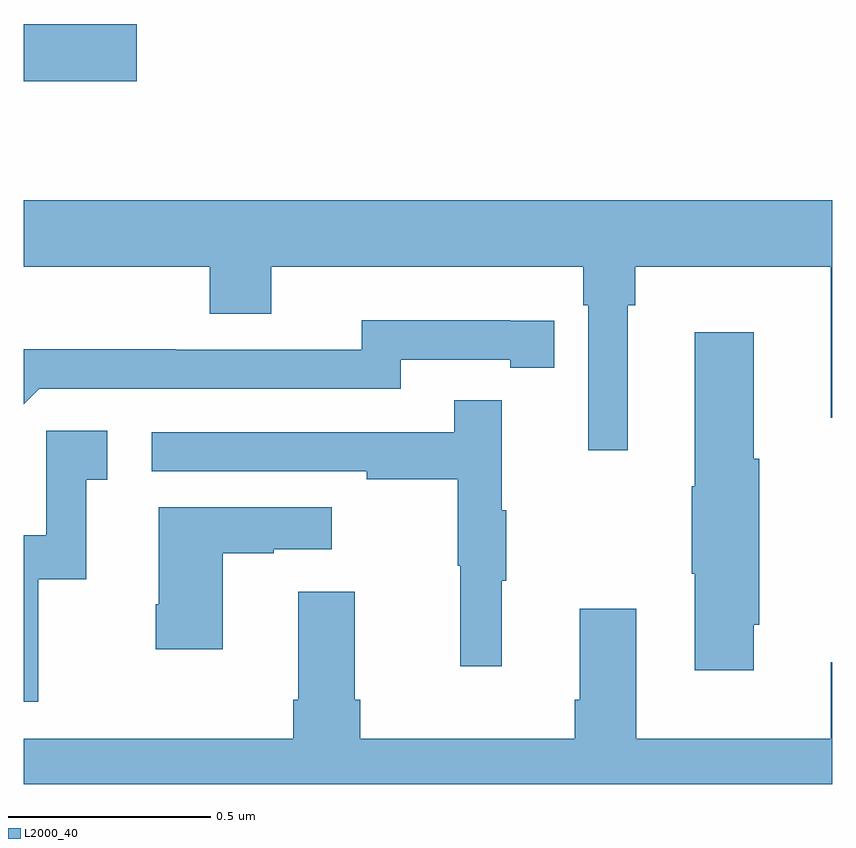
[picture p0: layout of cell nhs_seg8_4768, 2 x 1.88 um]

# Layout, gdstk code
import gdstk
lib = gdstk.Library(unit=1e-6, precision=1e-09)
def R(c, l, rs):  # rectangles x0, y0, x1, y1
    for r in rs: c.add(gdstk.rectangle(r[:2], r[2:], *l))
def P(c, l, *ps):  # polygons
    for p in ps: c.add(gdstk.Polygon(p, *l))
L2000_40 = (2000, 40)

nhs_seg8_4768 = lib.new_cell('nhs_seg8_4768')
R(nhs_seg8_4768, L2000_40, [(175,1103.638,175.279,1103.78)])
P(nhs_seg8_4768, L2000_40, [(176.494,1103.084),(176.513,1103.084),(176.513,1103.18),(176.996,1103.18),(176.996,1102.806),(177,1102.806),(177,1103.344),(175,1103.344),(175,1103.18),(175.46,1103.18),(175.46,1103.063),(175.612,1103.063),(175.612,1103.18),(176.384,1103.18),(176.384,1103.084),(176.397,1103.084),(176.397,1102.725),(176.494,1102.725)],
  [(175.038,1102.878),(175.932,1102.878),(175.932,1102.95),(176.204,1102.95),(176.204,1102.93),(176.312,1102.93),(176.312,1103.046),(176.204,1103.046),(176.204,1103.047),(175.836,1103.047),(175.836,1102.974),(175.376,1102.974),(175.376,1102.976),(175,1102.976),(175,1102.84)],
  [(176.806,1102.294),(176.819,1102.294),(176.819,1102.704),(176.806,1102.704),(176.806,1103.017),(176.66,1103.017),(176.66,1102.637),(176.653,1102.637),(176.653,1102.42),(176.66,1102.42),(176.66,1102.182),(176.806,1102.182)],
  [(176.183,1102.403),(176.194,1102.403),(176.194,1102.577),(176.183,1102.577),(176.183,1102.849),(176.065,1102.849),(176.065,1102.77),(175.317,1102.77),(175.317,1102.674),(175.849,1102.674),(175.849,1102.654),(176.073,1102.654),(176.073,1102.44),(176.08,1102.44),(176.08,1102.191),(176.183,1102.191)],
  [(175.036,1102.407),(175.154,1102.407),(175.154,1102.653),(175.207,1102.653),(175.207,1102.774),(175.056,1102.774),(175.056,1102.515),(175,1102.515),(175,1102.104),(175.036,1102.104)],
  [(175.492,1102.471),(175.619,1102.471),(175.619,1102.481),(175.762,1102.481),(175.762,1102.585),(175.334,1102.585),(175.334,1102.345),(175.327,1102.345),(175.327,1102.233),(175.492,1102.233)],
  [(175.679,1102.375),(175.679,1102.108),(175.667,1102.108),(175.667,1102.012),(175,1102.012),(175,1101.9),(177,1101.9),(177,1102.201),(176.996,1102.201),(176.996,1102.012),(176.515,1102.012),(176.515,1102.333),(176.375,1102.333),(176.375,1102.108),(176.363,1102.108),(176.363,1102.012),(175.832,1102.012),(175.832,1102.108),(175.819,1102.108),(175.819,1102.375)])

lib.write_gds('nhs_seg8_4768.gds')
